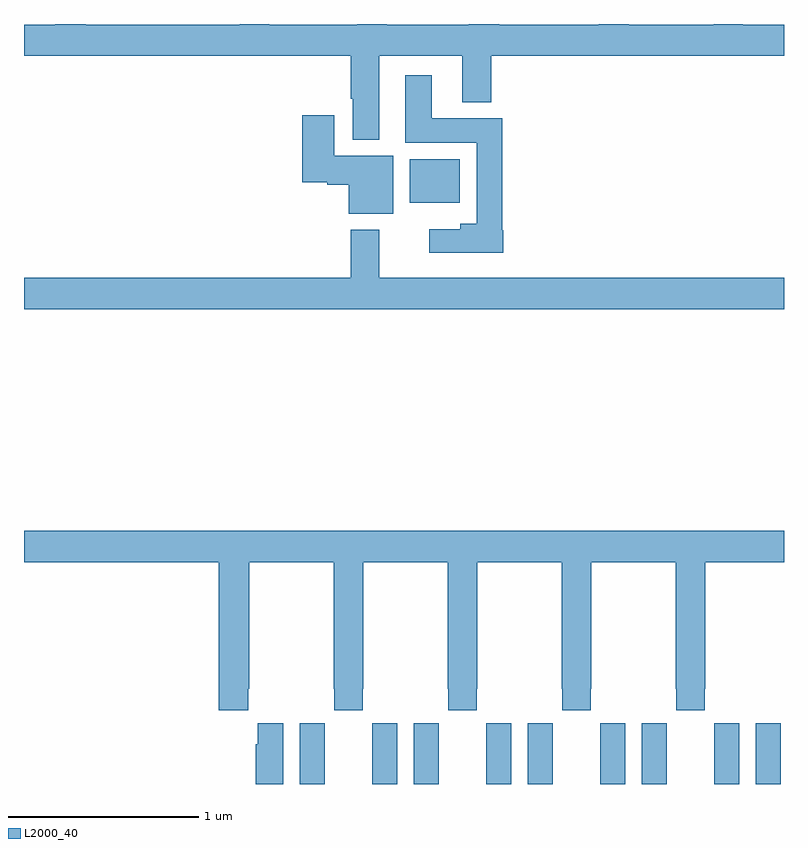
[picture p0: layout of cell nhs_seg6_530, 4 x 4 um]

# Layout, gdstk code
import gdstk
lib = gdstk.Library(unit=1e-6, precision=1e-09)
def R(c, l, rs):  # rectangles x0, y0, x1, y1
    for r in rs: c.add(gdstk.rectangle(r[:2], r[2:], *l))
def P(c, l, *ps):  # polygons
    for p in ps: c.add(gdstk.Polygon(p, *l))
L2000_40 = (2000, 40)

nhs_seg6_530 = lib.new_cell('nhs_seg6_530')
R(nhs_seg6_530, L2000_40, [(145.031,950.558,145.294,950.788)])
P(nhs_seg6_530, L2000_40, [(144.291,951.5),(144.136,951.5),(144.136,951.496),(143.325,951.496),(143.325,951.5),(143.165,951.5),(143.165,951.496),(143,951.496),(143,951.332),(144.719,951.332),(144.719,951.106),(144.731,951.106),(144.731,950.891),(144.871,950.891),(144.871,951.332),(145.307,951.332),(145.307,951.089),(145.46,951.089),(145.46,951.332),(147,951.332),(147,951.496),(146.784,951.496),(146.784,951.5),(146.629,951.5),(146.629,951.496),(146.184,951.496),(146.184,951.5),(146.024,951.5),(146.024,951.496),(145.502,951.496),(145.502,951.5),(145.342,951.5),(145.342,951.496),(144.909,951.496),(144.909,951.5),(144.754,951.5),(144.754,951.496),(144.291,951.496)],
  [(145.522,950.415),(145.517,950.415),(145.517,951.004),(145.147,951.004),(145.147,951.229),(145.007,951.229),(145.007,950.876),(145.382,950.876),(145.382,950.449),(145.295,950.449),(145.295,950.419),(145.134,950.419),(145.134,950.297),(145.522,950.297)],
  [(144.943,950.806),(144.634,950.806),(144.634,951.019),(144.464,951.019),(144.464,950.666),(144.597,950.666),(144.597,950.654),(144.71,950.654),(144.71,950.501),(144.943,950.501)],
  [(147,950.164),(144.871,950.164),(144.871,950.416),(144.719,950.416),(144.719,950.164),(143,950.164),(143,950),(147,950)],
  [(144.179,948.001),(144.186,948.001),(144.186,948.668),(144.631,948.668),(144.631,948.001),(144.633,948.001),(144.633,947.889),(144.783,947.889),(144.783,948.001),(144.786,948.001),(144.786,948.668),(145.231,948.668),(145.231,948.001),(145.233,948.001),(145.233,947.889),(145.383,947.889),(145.383,948.001),(145.386,948.001),(145.386,948.668),(145.831,948.668),(145.831,948.001),(145.833,948.001),(145.833,947.889),(145.983,947.889),(145.983,948.001),(145.986,948.001),(145.986,948.668),(146.431,948.668),(146.431,948.001),(146.433,948.001),(146.433,947.889),(146.583,947.889),(146.583,948.001),(146.586,948.001),(146.586,948.668),(147,948.668),(147,948.832),(143,948.832),(143,948.668),(144.026,948.668),(144.026,947.889),(144.179,947.889)],
  [(146.983,947.708),(146.982,947.708),(146.982,947.821),(146.852,947.821),(146.852,947.5),(146.983,947.5)],
  [(146.764,947.821),(146.634,947.821),(146.634,947.708),(146.633,947.708),(146.633,947.5),(146.764,947.5)],
  [(146.383,947.708),(146.382,947.708),(146.382,947.821),(146.252,947.821),(146.252,947.5),(146.383,947.5)],
  [(146.164,947.821),(146.034,947.821),(146.034,947.708),(146.033,947.708),(146.033,947.5),(146.164,947.5)],
  [(145.783,947.708),(145.782,947.708),(145.782,947.821),(145.652,947.821),(145.652,947.5),(145.783,947.5)],
  [(145.564,947.821),(145.434,947.821),(145.434,947.708),(145.433,947.708),(145.433,947.5),(145.564,947.5)],
  [(145.183,947.708),(145.182,947.708),(145.182,947.821),(145.052,947.821),(145.052,947.5),(145.183,947.5)],
  [(144.964,947.821),(144.834,947.821),(144.834,947.708),(144.833,947.708),(144.833,947.5),(144.964,947.5)],
  [(144.583,947.708),(144.582,947.708),(144.582,947.821),(144.452,947.821),(144.452,947.5),(144.583,947.5)],
  [(144.23,947.821),(144.23,947.708),(144.221,947.708),(144.221,947.5),(144.364,947.5),(144.364,947.821)])

lib.write_gds('nhs_seg6_530.gds')
